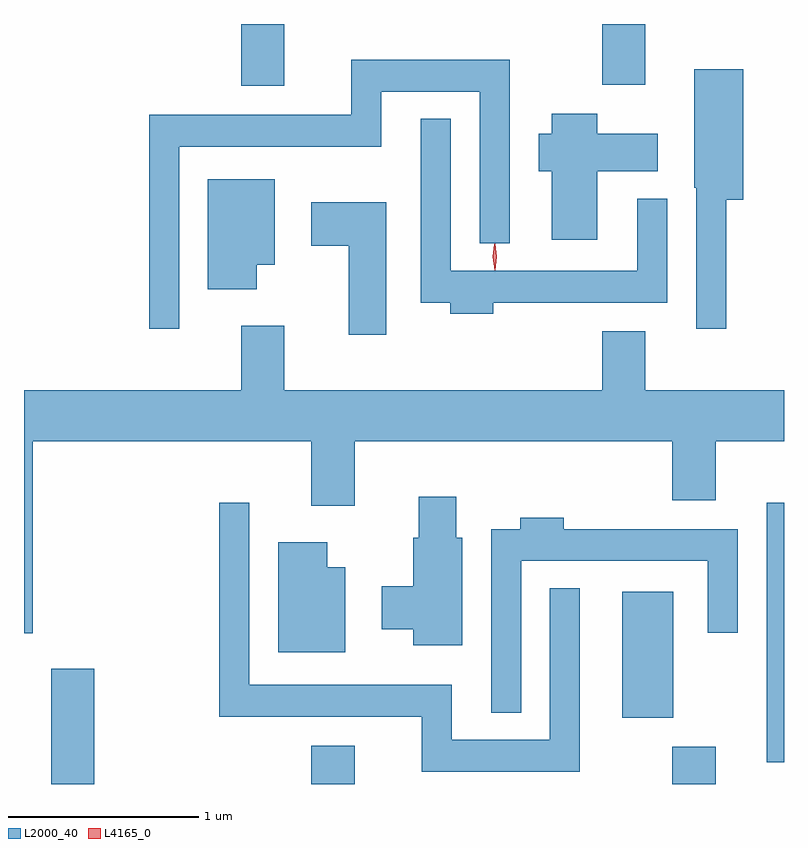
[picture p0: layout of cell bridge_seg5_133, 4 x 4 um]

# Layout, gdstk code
import gdstk
lib = gdstk.Library(unit=1e-6, precision=1e-09)
def R(c, l, rs):  # rectangles x0, y0, x1, y1
    for r in rs: c.add(gdstk.rectangle(r[:2], r[2:], *l))
def P(c, l, *ps):  # polygons
    for p in ps: c.add(gdstk.Polygon(p, *l))
L2000_40 = (2000, 40)
L4165_0 = (4165, 0)

bridge_seg5_133 = lib.new_cell('bridge_seg5_133')
R(bridge_seg5_133, L2000_40, [(1201.261,1417.252,1201.489,1417.859), (1202.631,1417.252,1202.859,1417.454), (1204.531,1417.252,1204.759,1417.449), (1205.026,1417.366,1205.118,1418.733), (1204.266,1417.601,1204.534,1418.264), (1202.261,1420.926,1202.489,1421.252), (1204.161,1420.931,1204.389,1421.252)])
P(bridge_seg5_133, L2000_40, [(1201.934,1420.606),(1202.999,1420.606),(1202.999,1420.896),(1203.516,1420.896),(1203.516,1420.098),(1203.674,1420.098),(1203.674,1421.064),(1202.841,1421.064),(1202.841,1420.774),(1201.776,1420.774),(1201.776,1419.648),(1201.934,1419.648)],
  [(1204.814,1420.326),(1204.904,1420.326),(1204.904,1421.014),(1204.646,1421.014),(1204.646,1420.39),(1204.656,1420.39),(1204.656,1419.648),(1204.814,1419.648)],
  [(1204.134,1420.476),(1204.454,1420.476),(1204.454,1420.674),(1204.134,1420.674),(1204.134,1420.779),(1203.896,1420.779),(1203.896,1420.674),(1203.826,1420.674),(1203.826,1420.476),(1203.896,1420.476),(1203.896,1420.116),(1204.134,1420.116)],
  [(1203.589,1419.786),(1204.504,1419.786),(1204.504,1420.333),(1204.346,1420.333),(1204.346,1419.954),(1203.364,1419.954),(1203.364,1420.753),(1203.206,1420.753),(1203.206,1419.786),(1203.361,1419.786),(1203.361,1419.726),(1203.589,1419.726)],
  [(1202.344,1419.986),(1202.439,1419.986),(1202.439,1420.434),(1202.086,1420.434),(1202.086,1419.856),(1202.344,1419.856)],
  [(1203.024,1420.314),(1202.631,1420.314),(1202.631,1420.086),(1202.826,1420.086),(1202.826,1419.616),(1203.024,1419.616)],
  [(1201.164,1419.056),(1202.631,1419.056),(1202.631,1418.716),(1202.859,1418.716),(1202.859,1419.056),(1204.531,1419.056),(1204.531,1418.746),(1204.759,1418.746),(1204.759,1419.056),(1205.118,1419.056),(1205.118,1419.324),(1204.389,1419.324),(1204.389,1419.634),(1204.161,1419.634),(1204.161,1419.324),(1202.489,1419.324),(1202.489,1419.664),(1202.261,1419.664),(1202.261,1419.324),(1201.118,1419.324),(1201.118,1418.046),(1201.164,1418.046)],
  [(1203.424,1418.549),(1203.394,1418.549),(1203.394,1418.764),(1203.196,1418.764),(1203.196,1418.549),(1203.166,1418.549),(1203.166,1418.294),(1203.001,1418.294),(1203.001,1418.066),(1203.166,1418.066),(1203.166,1417.981),(1203.424,1417.981)],
  [(1204.044,1418.283),(1203.886,1418.283),(1203.886,1417.484),(1203.369,1417.484),(1203.369,1417.774),(1202.304,1417.774),(1202.304,1418.733),(1202.146,1418.733),(1202.146,1417.606),(1203.211,1417.606),(1203.211,1417.316),(1204.044,1417.316)],
  [(1203.734,1418.426),(1204.716,1418.426),(1204.716,1418.048),(1204.874,1418.048),(1204.874,1418.594),(1203.959,1418.594),(1203.959,1418.654),(1203.731,1418.654),(1203.731,1418.594),(1203.576,1418.594),(1203.576,1417.628),(1203.734,1417.628)],
  [(1202.809,1418.394),(1202.714,1418.394),(1202.714,1418.524),(1202.456,1418.524),(1202.456,1417.946),(1202.809,1417.946)])
P(bridge_seg5_133, L4165_0, [(1203.595,1419.959),(1203.595,1419.96),(1203.585,1420.026),(1203.594,1420.092),(1203.595,1420.093),(1203.596,1420.092),(1203.605,1420.026),(1203.596,1419.96)],
  [(1203.596,1419.957),(1203.596,1419.957),(1203.586,1420.027),(1203.596,1420.096),(1203.596,1420.096),(1203.597,1420.096),(1203.606,1420.027),(1203.597,1419.957)])

lib.write_gds('bridge_seg5_133.gds')
